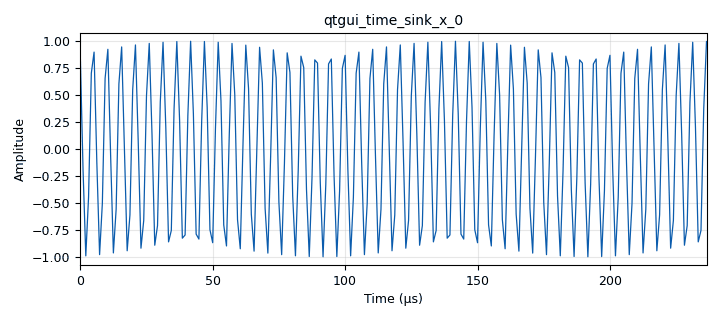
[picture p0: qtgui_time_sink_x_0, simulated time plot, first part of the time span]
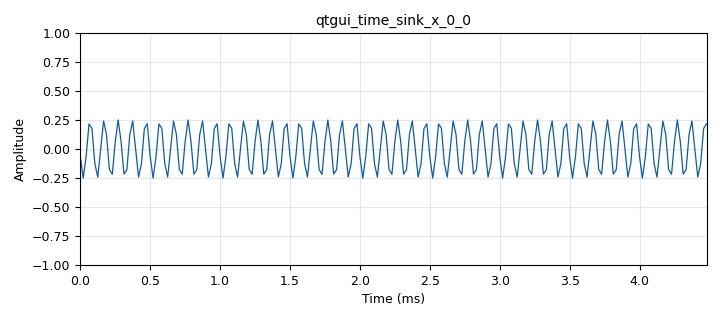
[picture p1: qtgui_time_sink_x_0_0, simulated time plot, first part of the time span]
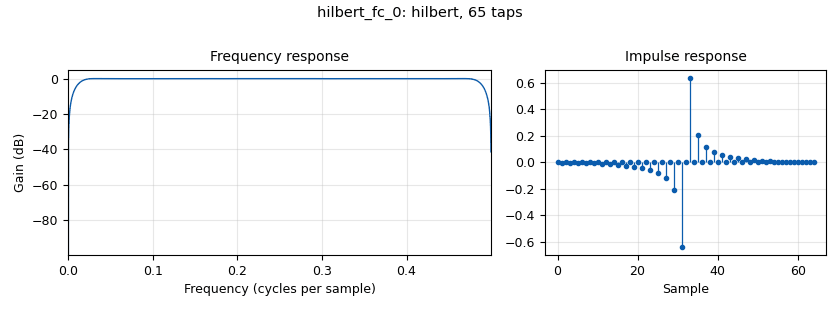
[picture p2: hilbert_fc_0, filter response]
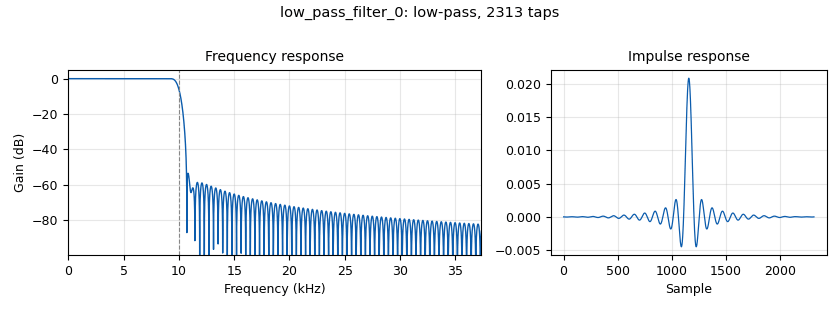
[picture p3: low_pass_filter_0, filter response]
options:
  parameters:
    author: aditya
    generate_options: qt_gui
    id: ssb_sc
    output_language: python
    title: Not titled yet
  states: {}

blocks:
- name: audio_rate
  id: variable
  parameters:
    value: '48000'
  states: {}
- name: quadrature_rate
  id: variable
  parameters:
    value: '960000'
  states: {}
- name: analog_sig_source_x_0
  id: analog_sig_source_x
  parameters:
    amp: '1'
    freq: '10000'
    offset: '0'
    phase: '0'
    samp_rate: audio_rate
    type: float
    waveform: analog.GR_COS_WAVE
  states: {}
- name: analog_sig_source_x_0_0
  id: analog_sig_source_x
  parameters:
    amp: '1'
    freq: '200000'
    offset: '0'
    phase: '0'
    samp_rate: quadrature_rate
    type: float
    waveform: analog.GR_SIN_WAVE
  states: {}
- name: analog_sig_source_x_0_0_0
  id: analog_sig_source_x
  parameters:
    amp: '1'
    freq: '200000'
    offset: '0'
    phase: '0'
    samp_rate: quadrature_rate
    type: float
    waveform: analog.GR_COS_WAVE
  states: {}
- name: analog_sig_source_x_0_0_0_0
  id: analog_sig_source_x
  parameters:
    amp: '1'
    freq: '200000'
    offset: '0'
    phase: '0'
    samp_rate: quadrature_rate
    type: float
    waveform: analog.GR_COS_WAVE
  states: {}
- name: analog_sig_source_x_0_0_1
  id: analog_sig_source_x
  parameters:
    amp: '1'
    freq: '200000'
    offset: '0'
    phase: '1.57'
    samp_rate: quadrature_rate
    type: float
    waveform: analog.GR_SIN_WAVE
  states: {}
- name: audio_sink_0
  id: audio_sink
  parameters:
    samp_rate: '48000'
  states: {state: disabled}
- name: audio_sink_0_0
  id: audio_sink
  parameters:
    samp_rate: '48000'
  states: {state: disabled}
- name: blocks_add_xx_0
  id: blocks_add_xx
  parameters:
    type: float
  states: {}
- name: blocks_complex_to_imag_0
  id: blocks_complex_to_imag
  parameters: {}
  states: {}
- name: blocks_complex_to_real_0
  id: blocks_complex_to_real
  parameters: {}
  states: {}
- name: blocks_multiply_xx_0
  id: blocks_multiply_xx
  parameters:
    type: float
  states: {}
- name: blocks_multiply_xx_0_0
  id: blocks_multiply_xx
  parameters:
    type: float
  states: {}
- name: blocks_multiply_xx_1
  id: blocks_multiply_xx
  parameters:
    type: float
  states: {}
- name: blocks_multiply_xx_1_0
  id: blocks_multiply_xx
  parameters:
    type: float
  states: {}
- name: blocks_throttle_0
  id: blocks_throttle
  parameters:
    samples_per_second: audio_rate
    type: float
  states: {}
- name: blocks_throttle_0_0
  id: blocks_throttle
  parameters:
    samples_per_second: audio_rate
    type: float
  states: {}
- name: blocks_wavfile_source_0
  id: blocks_wavfile_source
  parameters:
    file: /home/aditya/Projects/iitb/ee340/labs/audio/Bach.wav
    repeat: 'True'
  states: {state: disabled}
- name: hilbert_fc_0
  id: hilbert_fc
  parameters:
    num_taps: '65'
  states: {}
- name: low_pass_filter_0
  id: low_pass_filter
  parameters:
    cutoff_freq: '10000'
    decim: '1'
    gain: '1'
    samp_rate: quadrature_rate
    type: fir_filter_fff
    width: '1000'
    win: window.WIN_HAMMING
  states: {}
- name: low_pass_filter_0_0
  id: low_pass_filter
  parameters:
    cutoff_freq: '10000'
    decim: '1'
    gain: '1'
    samp_rate: quadrature_rate
    type: fir_filter_fff
    width: '1000'
    win: window.WIN_HAMMING
  states: {}
- name: low_pass_filter_0_0_0
  id: low_pass_filter
  parameters:
    cutoff_freq: '22000'
    decim: '1'
    gain: '1'
    samp_rate: quadrature_rate
    type: fir_filter_fff
    width: '1000'
    win: window.WIN_HAMMING
  states: {state: disabled}
- name: low_pass_filter_0_0_1
  id: low_pass_filter
  parameters:
    cutoff_freq: '22000'
    decim: '1'
    gain: '1'
    samp_rate: quadrature_rate
    type: fir_filter_fff
    width: '1000'
    win: window.WIN_HAMMING
  states: {state: disabled}
- name: qtgui_freq_sink_x_0
  id: qtgui_freq_sink_x
  parameters:
    bw: quadrature_rate
    fc: '0'
    fftsize: '1024'
    gui_hint: tab@0
    type: float
  states: {state: disabled}
- name: qtgui_freq_sink_x_0_0
  id: qtgui_freq_sink_x
  parameters:
    bw: audio_rate
    fc: '0'
    fftsize: '1024'
    type: complex
  states: {state: disabled}
- name: qtgui_freq_sink_x_1
  id: qtgui_freq_sink_x
  parameters:
    bw: audio_rate
    fc: '0'
    fftsize: '1024'
    gui_hint: tab@1
    type: float
  states: {state: disabled}
- name: qtgui_freq_sink_x_1_0
  id: qtgui_freq_sink_x
  parameters:
    bw: audio_rate
    fc: '0'
    fftsize: '1024'
    gui_hint: tab@1
    type: float
  states: {state: disabled}
- name: qtgui_time_sink_x_0
  id: qtgui_time_sink_x
  parameters:
    gui_hint: tab@0
    size: '1024'
    srate: quadrature_rate
    type: float
  states: {}
- name: qtgui_time_sink_x_0_0
  id: qtgui_time_sink_x
  parameters:
    gui_hint: tab@1
    size: '1024'
    srate: audio_rate
    type: float
  states: {}
- name: rational_resampler_xxx_0
  id: rational_resampler_xxx
  parameters:
    decim: '48000'
    interp: '960000'
    type: fff
  states: {}
- name: rational_resampler_xxx_0_0
  id: rational_resampler_xxx
  parameters:
    decim: '48000'
    interp: '960000'
    type: fff
  states: {}
- name: rational_resampler_xxx_1
  id: rational_resampler_xxx
  parameters:
    decim: '960000'
    interp: '48000'
    type: fff
  states: {}
- name: rational_resampler_xxx_1_0
  id: rational_resampler_xxx
  parameters:
    decim: '960000'
    interp: '48000'
    type: fff
  states: {}
- name: tab
  id: qtgui_tab_widget
  parameters:
    label0: Modulated
    label1: Demodulated
    num_tabs: '2'
  states: {}

connections:
- [analog_sig_source_x_0, '0', hilbert_fc_0, '0']
- [analog_sig_source_x_0_0, '0', blocks_multiply_xx_0_0, '1']
- [analog_sig_source_x_0_0_0, '0', blocks_multiply_xx_0, '0']
- [analog_sig_source_x_0_0_0_0, '0', blocks_multiply_xx_1, '0']
- [analog_sig_source_x_0_0_1, '0', blocks_multiply_xx_1_0, '1']
- [blocks_add_xx_0, '0', blocks_multiply_xx_1, '1']
- [blocks_add_xx_0, '0', blocks_multiply_xx_1_0, '0']
- [blocks_add_xx_0, '0', qtgui_freq_sink_x_0, '0']
- [blocks_add_xx_0, '0', qtgui_time_sink_x_0, '0']
- [blocks_complex_to_imag_0, '0', rational_resampler_xxx_0_0, '0']
- [blocks_complex_to_real_0, '0', rational_resampler_xxx_0, '0']
- [blocks_multiply_xx_0, '0', blocks_add_xx_0, '0']
- [blocks_multiply_xx_0_0, '0', blocks_add_xx_0, '1']
- [blocks_multiply_xx_1, '0', low_pass_filter_0, '0']
- [blocks_multiply_xx_1, '0', low_pass_filter_0_0_0, '0']
- [blocks_multiply_xx_1_0, '0', low_pass_filter_0_0, '0']
- [blocks_multiply_xx_1_0, '0', low_pass_filter_0_0_1, '0']
- [blocks_throttle_0, '0', qtgui_freq_sink_x_1_0, '0']
- [blocks_throttle_0_0, '0', qtgui_freq_sink_x_1, '0']
- [blocks_throttle_0_0, '0', qtgui_time_sink_x_0_0, '0']
- [blocks_wavfile_source_0, '0', hilbert_fc_0, '0']
- [hilbert_fc_0, '0', blocks_complex_to_imag_0, '0']
- [hilbert_fc_0, '0', blocks_complex_to_real_0, '0']
- [hilbert_fc_0, '0', qtgui_freq_sink_x_0_0, '0']
- [low_pass_filter_0, '0', rational_resampler_xxx_1, '0']
- [low_pass_filter_0_0, '0', rational_resampler_xxx_1_0, '0']
- [low_pass_filter_0_0_0, '0', rational_resampler_xxx_1, '0']
- [low_pass_filter_0_0_1, '0', rational_resampler_xxx_1_0, '0']
- [rational_resampler_xxx_0, '0', blocks_multiply_xx_0, '1']
- [rational_resampler_xxx_0_0, '0', blocks_multiply_xx_0_0, '0']
- [rational_resampler_xxx_1, '0', audio_sink_0, '0']
- [rational_resampler_xxx_1, '0', blocks_throttle_0_0, '0']
- [rational_resampler_xxx_1_0, '0', audio_sink_0_0, '0']
- [rational_resampler_xxx_1_0, '0', blocks_throttle_0, '0']

metadata:
  file_format: 1
